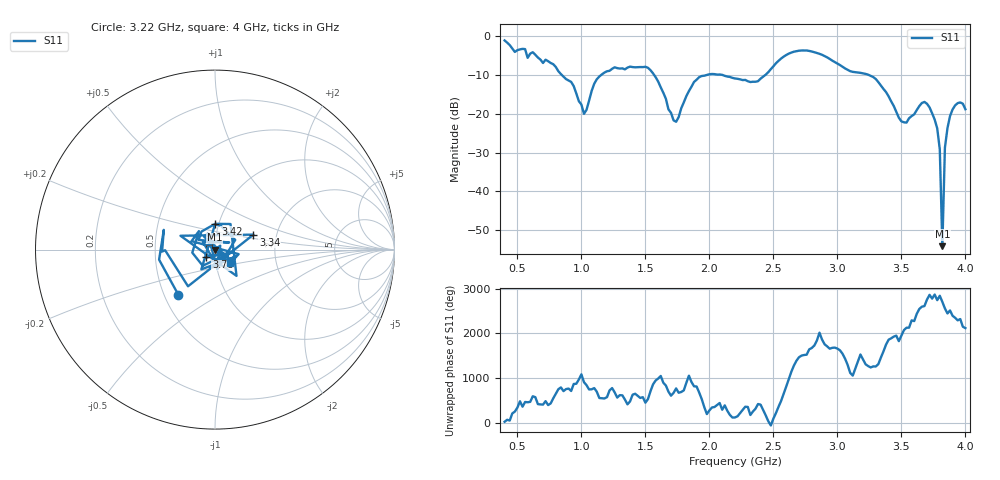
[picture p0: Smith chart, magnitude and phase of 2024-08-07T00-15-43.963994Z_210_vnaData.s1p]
!Created with skrf (http://scikit-rf.org).
# Hz S RI R 50.0
!freq ReS11 ImS11
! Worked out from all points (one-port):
!   181 points, 400 MHz to 4 GHz, reference 50 ohm
!   lowest |S11| = -54.1 dB at 3.82 GHz (marker M1), VSWR 1.00, Z = 49.8 - j0.0125 ohm
!   |S11| at or under -10 dB: 1.567 GHz to 1.988 GHz (420.8 MHz wide, 23.7 % of centre); 2.091 GHz to 2.44 GHz (349.5 MHz wide, 15.4 % of centre); 3.24 GHz to end of sweep (the widest 3 of 4)
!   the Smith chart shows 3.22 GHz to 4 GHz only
!   S11 on the Smith chart (normalised r, x): 3.22 GHz: 0.59, -0.33; 3.34 GHz: 1.52, +0.27; 3.42 GHz: 0.96, +0.28; 3.78 GHz: 0.91, -0.08; 4 GHz: 1.17, -0.18
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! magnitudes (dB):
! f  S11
! 400 MHz  -1.2
! 860 MHz  -10.5
! 940 MHz  -12.9
! 1.02 GHz  -20.1
! 1.12 GHz  -11.2
! 1.3 GHz  -8.4
! 1.52 GHz  -8.2
! 1.6 GHz  -11.8
! 1.72 GHz  -21.7
! 1.76 GHz  -20.9
! 1.92 GHz  -10.6
! 2.2 GHz  -11.0
! 2.38 GHz  -11.7
! 2.66 GHz  -4.1
! 3.1 GHz  -9.1
! 3.22 GHz  -9.8
! 3.34 GHz  -12.8
! 3.42 GHz  -16.8
! 3.5 GHz  -22.0
! 3.56 GHz  -21.2
! 3.68 GHz  -17.0
! 3.78 GHz  -23.8
! 3.8 GHz  -29.2
! 3.82 GHz  -54.1
! 3.84 GHz  -28.8
! 3.86 GHz  -23.7
! 3.92 GHz  -17.9
! 4 GHz  -18.9
